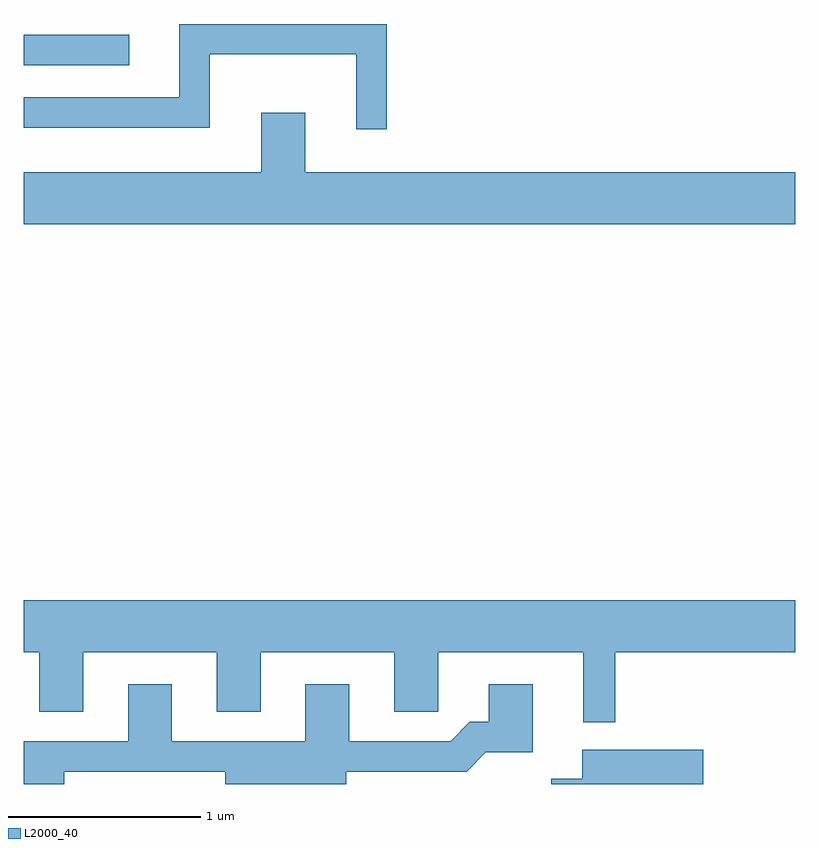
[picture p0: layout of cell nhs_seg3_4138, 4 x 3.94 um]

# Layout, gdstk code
import gdstk
lib = gdstk.Library(unit=1e-6, precision=1e-09)
def R(c, l, rs):  # rectangles x0, y0, x1, y1
    for r in rs: c.add(gdstk.rectangle(r[:2], r[2:], *l))
def P(c, l, *ps):  # polygons
    for p in ps: c.add(gdstk.Polygon(p, *l))
L2000_40 = (2000, 40)

nhs_seg3_4138 = lib.new_cell('nhs_seg3_4138')
R(nhs_seg3_4138, L2000_40, [(305.611,1235.621,306.158,1235.779)])
P(nhs_seg3_4138, L2000_40, [(307.494,1235.834),(306.416,1235.834),(306.416,1235.454),(305.611,1235.454),(305.611,1235.296),(306.574,1235.296),(306.574,1235.676),(307.336,1235.676),(307.336,1235.288),(307.494,1235.288)],
  [(309.611,1235.064),(307.069,1235.064),(307.069,1235.374),(306.841,1235.374),(306.841,1235.064),(305.611,1235.064),(305.611,1234.796),(309.611,1234.796)],
  [(308.679,1232.576),(309.611,1232.576),(309.611,1232.844),(305.611,1232.844),(305.611,1232.576),(305.691,1232.576),(305.691,1232.266),(305.919,1232.266),(305.919,1232.576),(306.611,1232.576),(306.611,1232.266),(306.839,1232.266),(306.839,1232.576),(307.531,1232.576),(307.531,1232.266),(307.759,1232.266),(307.759,1232.576),(308.511,1232.576),(308.511,1232.213),(308.679,1232.213)],
  [(305.819,1231.956),(306.656,1231.956),(306.656,1231.892),(307.284,1231.892),(307.284,1231.956),(307.907,1231.956),(308.007,1232.056),(308.249,1232.056),(308.249,1232.409),(308.021,1232.409),(308.021,1232.214),(307.924,1232.214),(307.824,1232.114),(307.299,1232.114),(307.299,1232.409),(307.071,1232.409),(307.071,1232.114),(306.379,1232.114),(306.379,1232.409),(306.151,1232.409),(306.151,1232.114),(305.611,1232.114),(305.611,1231.892),(305.819,1231.892)],
  [(309.134,1232.069),(308.506,1232.069),(308.506,1231.919),(308.346,1231.919),(308.346,1231.892),(309.134,1231.892)])

lib.write_gds('nhs_seg3_4138.gds')
